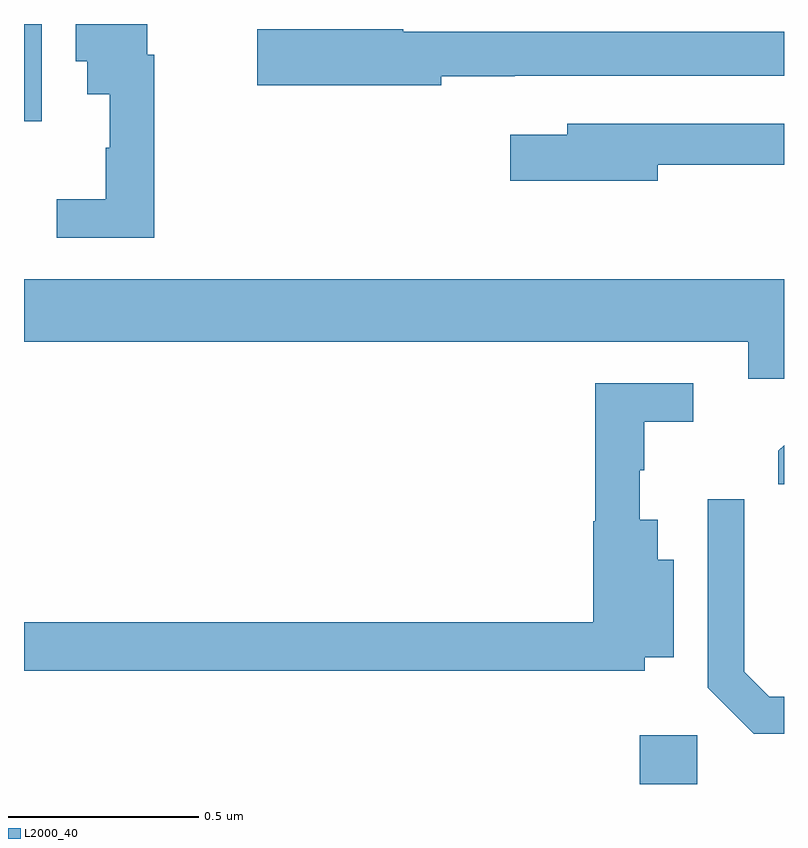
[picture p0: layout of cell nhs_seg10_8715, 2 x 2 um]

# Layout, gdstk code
import gdstk
lib = gdstk.Library(unit=1e-6, precision=1e-09)
def R(c, l, rs):  # rectangles x0, y0, x1, y1
    for r in rs: c.add(gdstk.rectangle(r[:2], r[2:], *l))
def P(c, l, *ps):  # polygons
    for p in ps: c.add(gdstk.Polygon(p, *l))
L2000_40 = (2000, 40)

nhs_seg10_8715 = lib.new_cell('nhs_seg10_8715')
R(nhs_seg10_8715, L2000_40, [(221.621,1284.5,221.772,1284.628), (220,1286.244,220.047,1286.5)])
P(nhs_seg10_8715, L2000_40, [(220.343,1286.419),(220.324,1286.419),(220.324,1286.5),(220.136,1286.5),(220.136,1286.402),(220.166,1286.402),(220.166,1286.315),(220.226,1286.315),(220.226,1286.175),(220.215,1286.175),(220.215,1286.039),(220.086,1286.039),(220.086,1285.938),(220.343,1285.938)],
  [(221.098,1286.363),(221.292,1286.363),(221.292,1286.364),(222,1286.364),(222,1286.48),(220.998,1286.48),(220.998,1286.486),(220.614,1286.486),(220.614,1286.339),(221.098,1286.339)],
  [(221.668,1286.13),(222,1286.13),(222,1286.238),(221.429,1286.238),(221.429,1286.209),(221.28,1286.209),(221.28,1286.087),(221.668,1286.087)],
  [(222,1285.828),(220,1285.828),(220,1285.664),(221.906,1285.664),(221.906,1285.566),(222,1285.566)],
  [(221.634,1284.833),(221.71,1284.833),(221.71,1285.09),(221.668,1285.09),(221.668,1285.195),(221.621,1285.195),(221.621,1285.326),(221.632,1285.326),(221.632,1285.453),(221.761,1285.453),(221.761,1285.554),(221.503,1285.554),(221.503,1285.191),(221.498,1285.191),(221.498,1284.926),(220,1284.926),(220,1284.798),(221.634,1284.798)],
  [(222,1285.392),(221.985,1285.377),(221.985,1285.289),(222,1285.289)],
  [(222,1284.729),(221.961,1284.729),(221.895,1284.795),(221.895,1285.249),(221.799,1285.249),(221.799,1284.753),(221.92,1284.632),(222,1284.632)])

lib.write_gds('nhs_seg10_8715.gds')
